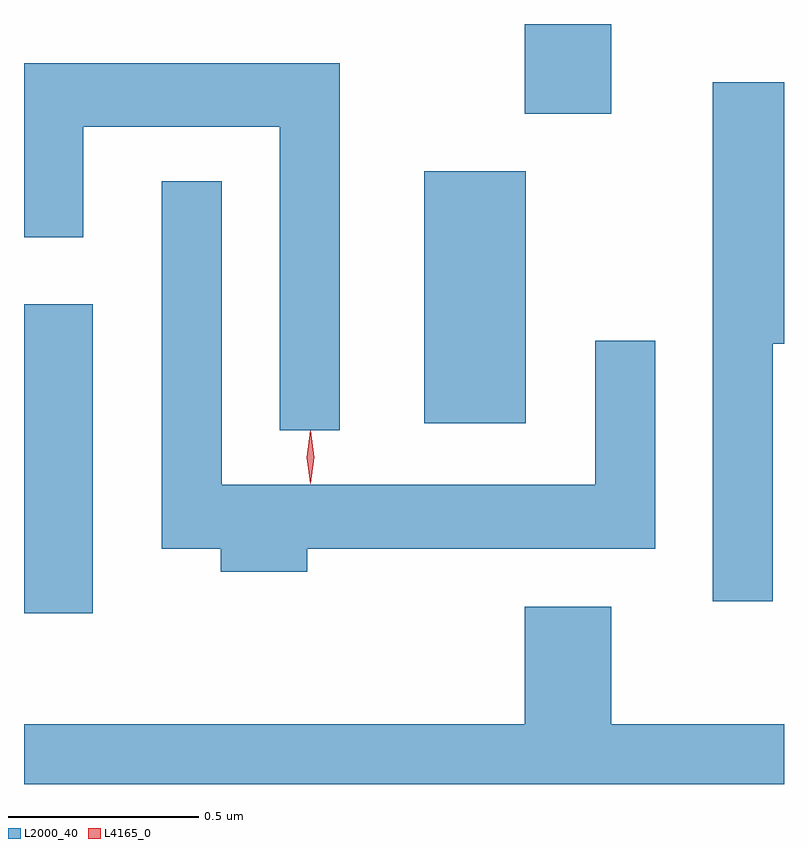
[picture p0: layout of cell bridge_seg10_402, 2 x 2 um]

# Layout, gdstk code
import gdstk
lib = gdstk.Library(unit=1e-6, precision=1e-09)
def R(c, l, rs):  # rectangles x0, y0, x1, y1
    for r in rs: c.add(gdstk.rectangle(r[:2], r[2:], *l))
def P(c, l, *ps):  # polygons
    for p in ps: c.add(gdstk.Polygon(p, *l))
L2000_40 = (2000, 40)
L4165_0 = (4165, 0)

bridge_seg10_402 = lib.new_cell('bridge_seg10_402')
R(bridge_seg10_402, L2000_40, [(1060.763,2130.016,1060.944,2130.829), (1061.816,2130.516,1062.084,2131.179), (1062.081,2131.331,1062.309,2131.567)])
P(bridge_seg10_402, L2000_40, [(1061.594,2131.464),(1060.763,2131.464),(1060.763,2131.006),(1060.919,2131.006),(1060.919,2131.296),(1061.436,2131.296),(1061.436,2130.498),(1061.594,2130.498)],
  [(1062.734,2130.726),(1062.763,2130.726),(1062.763,2131.414),(1062.576,2131.414),(1062.576,2130.048),(1062.734,2130.048)],
  [(1061.509,2130.186),(1062.424,2130.186),(1062.424,2130.733),(1062.266,2130.733),(1062.266,2130.354),(1061.284,2130.354),(1061.284,2131.153),(1061.126,2131.153),(1061.126,2130.186),(1061.281,2130.186),(1061.281,2130.126),(1061.509,2130.126)],
  [(1062.763,2129.724),(1062.309,2129.724),(1062.309,2130.034),(1062.081,2130.034),(1062.081,2129.724),(1060.763,2129.724),(1060.763,2129.567),(1062.763,2129.567)])
P(bridge_seg10_402, L4165_0, [(1061.517,2130.357),(1061.516,2130.358),(1061.507,2130.427),(1061.516,2130.496),(1061.517,2130.496),(1061.517,2130.496),(1061.527,2130.427),(1061.517,2130.358)],
  [(1061.516,2130.36),(1061.507,2130.426),(1061.516,2130.492),(1061.516,2130.493),(1061.517,2130.492),(1061.526,2130.426),(1061.517,2130.36),(1061.517,2130.36)])

lib.write_gds('bridge_seg10_402.gds')
